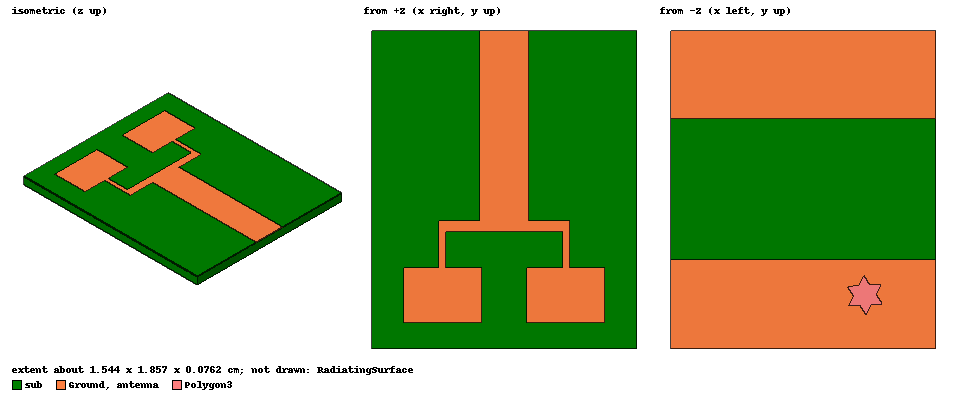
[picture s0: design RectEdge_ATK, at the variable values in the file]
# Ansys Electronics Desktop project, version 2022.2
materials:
  vacuum: permittivity=1
  Rogers RT/duroid 5880 (tm): permittivity=1.96 dielectric_loss_tangent=0.0009

design RectEdge_ATK (HFSS, DrivenTerminal, model units cm)
options: Allow_Material_Override Save_Adaptive_support_files
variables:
  # --Antenna Dimensions
  patchX = 0.4403cm
  patchY = 0.3154cm
  # --Substrate Dimensions
  subH = 0.0762cm
  subX = 2.7cm
  subY = 3.18cm
  # --Feed Dimensions
  EdgeFeedWidth = 0.0366cm
  EdgeFeedLength = 0.267cm
  FeedWidth = 0.2738cm
  FeedLength = 1.07cm
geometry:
  sub [Rogers RT/duroid 5880 (tm)] = box(corner=(-subX/2, -subY/2, 0cm), size=(subX+2.7cm, subY, subH))
  Ground = rectangle(corner=(-subX/2, -subY/2, 0cm), x_size=subX+subX, y_size=subY)
  antenna = rectangle(corner=(-patchX/2, -patchY/2, subH), x_size=patchX, y_size=patchY)
  NewObject_R3V5CP = rectangle(corner=(-EdgeFeedWidth/2, 0cm, subH), x_size=EdgeFeedWidth, y_size=patchY/2+EdgeFeedLength)
  NewObject_I0M3EW = rectangle(corner=(-FeedWidth/2, patchY/2+EdgeFeedLength, subH), x_size=FeedWidth, y_size=FeedLength)
  antenna.unite(NewObject_R3V5CP, NewObject_I0M3EW)
  RadiatingSurface [vacuum] = region(absolute_offset=0.35714286cm on all sides)
  antenna_1 = antenna.duplicate_along_line(step=(0.7cm, 0cm, 0cm), total=2)
  Rectangle1 = rectangle(corner=(0.5631cm, 0.4247cm, 0.0762cm), x_size=0.2738cm, y_size=1.07cm)
  antenna_1.subtract(Rectangle1)
  Rectangle2 = rectangle(corner=(-0.1369cm, 0.4247cm, 0.0762cm), x_size=0.2738cm, y_size=2cm)
  antenna.subtract(Rectangle2)
  Rectangle3 = rectangle(corner=(0.7183cm, 0.4247cm, 0.0762cm), x_size=-0.7366cm, y_size=-0.06675cm)
  antenna_1.unite(Rectangle3)
  antenna.unite(antenna_1)
  Rectangle4 = rectangle(corner=(0.2131cm, 0.4247cm, 0.0762cm), x_size=0.2738cm, y_size=1.07cm)
  antenna.unite(Rectangle4)
  Box1 = box(corner=(4.05cm, -1.59cm, 0.0762cm), size=(-2.7cm, 3.18cm, -0.0762cm))
  sub.subtract(Box1)
  Rectangle5 = rectangle(corner=(4.05cm, -1.59cm, 0cm), x_size=-2.7cm, y_size=3.18cm)
  Ground.subtract(Rectangle5)
  Box2 = box(corner=(1.35cm, -1.59cm, 0.0762cm), size=(-2.75cm, 1.29cm, -0.0762cm))
  sub.subtract(Box2)
  Rectangle6 = rectangle(corner=(1.35cm, -1.59cm, 0cm), x_size=-2.7cm, y_size=1.29cm)
  Ground.subtract(Rectangle6)
  Box3 = box(corner=(-1.35cm, -0.3cm, 0.0762cm), size=(0.95cm, 1.9cm, -0.0762cm))
  sub.subtract(Box3)
  Rectangle7 = rectangle(corner=(-1.35cm, -0.3cm, 0cm), x_size=0.95cm, y_size=1.89cm)
  Ground.subtract(Rectangle7)
  Box4 = box(corner=(1.35cm, 1.59cm, 0.0762cm), size=(-1.75cm, -0.09cm, -0.0762cm))
  sub.subtract(Box4)
  Rectangle8 = rectangle(corner=(1.35cm, 1.59cm, 0cm), x_size=-1.75cm, y_size=-0.09cm)
  Ground.subtract(Rectangle8)
  Rectangle9 = rectangle(corner=(0.2131cm, 1.4947cm, 0.0762cm), x_size=0.2738cm, y_size=0.0053cm)
  antenna.unite(Rectangle9)
  Box5 = box(corner=(1.35cm, -0.3cm, 0.0762cm), size=(-0.25cm, 1.8cm, -0.0762cm))
  sub.subtract(Box5)
  Rectangle10 = rectangle(corner=(1.35cm, -0.3cm, 0cm), x_size=-0.25cm, y_size=1.8cm)
  Ground.subtract(Rectangle10)
  Polygon1 = regular_polygon(axis=Z, centre=(0cm, 0cm, 0cm), first_corner=(0cm, -0.1cm, 0cm), sides=3)
  Polygon1.duplicate_around_axis(axis=Z, angle=180deg, total=2, attached)
  antenna.subtract(Polygon1)
  Polygon2 = regular_polygon(axis=Z, centre=(0cm, 0cm, 0cm), first_corner=(0cm, -0.1cm, 0cm), sides=3)
  Polygon2.duplicate_around_axis(axis=Z, angle=180deg, total=2, attached)
  antenna.subtract(Polygon2)
  Polygon3 = regular_polygon(axis=Z, centre=(0cm, 0cm, 0cm), first_corner=(-0.1cm, -0.05cm, 0cm), sides=3)
  Polygon3.duplicate_around_axis(axis=Z, angle=180deg, total=2, attached)
  Polygon3_1 = Polygon3.copy()
  antenna.subtract(Polygon3_1)
  Polygon3_2 = Polygon3.duplicate_along_line(step=(0.7cm, 0cm, 0cm), total=2)
  antenna.subtract(Polygon3_2)
  Polygon3_3 = Polygon3.duplicate_along_line(step=(0.7cm, 0cm, 0cm), total=2)
  antenna.subtract(Polygon3_3)
  Polygon3_4 [non-model] = Polygon3.duplicate_along_line(step=(0.7cm, 0cm, 0cm), total=2)
  Rectangle11 = rectangle(corner=(1.1cm, 0.2cm, 0cm), x_size=-1.5cm, y_size=0.8cm)
  Ground.subtract(Rectangle11)
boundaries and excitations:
  antennaMetal: Perfect E Objects=antenna
  groundMetal: Perfect E Objects=Ground
  Open1: Radiation Objects=RadiatingSurface
  1_T1: Terminal port=1 Edges=antenna.edge(3 of 4) TerminalResistance=50ohm
  1: Lumped Port Faces=sub.face(at (0.475, 1.5, 0.0381)) Impedance=50ohm
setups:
  ATK_Solution: HfssDriven Frequency=28GHz MaxDeltaS=0.02 MaximumPasses=15 MinimumPasses=1 MinimumConvergedPasses=1 PercentRefinement=30 BasisOrder=1 PortAccuracy=2 DrivenSolverType="Direct Solver" IESolverType=ACA
    sweep FF_Sweep: 14GHz to 42GHz, 3 points; Type=Discrete SaveFields
    sweep SParam_Sweep: 14GHz to 42GHz, 100 points; Type=Interpolating InterpTolerance=0.5 InterpMaxSolns=250 PassivityErrorTolerance=0.0001
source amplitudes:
  1:1: 1V 0deg
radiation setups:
  3D: Infinite Sphere Theta=0deg..180deg step 2deg Phi=-180deg..180deg step 2deg
  Elevation: Infinite Sphere Theta=-180deg..180deg step 1deg Phi=0deg..90deg step 90deg
  Azimuth: Infinite Sphere Theta=90deg..90deg step 0deg Phi=-180deg..180deg step 1deg
  ATK_2D: Infinite Sphere Theta=-180deg..180deg step 1deg Phi=0deg..90deg step 90deg
  ATK_3D: Infinite Sphere Theta=-180deg..180deg step 2deg Phi=0deg..180deg step 5deg
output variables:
  s_parameter = s
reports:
  ff_3D_GainTotal: dB(GainTotal) vs Phi, Theta on ATK_Solution : LastAdaptive, ATK_3D [Freq=2.8e+10]
  ff_2D_GainTotal: dB(GainTotal) vs Theta on ATK_Solution : LastAdaptive, ATK_2D [Phi=all Freq=2.8e+10]
  ff_2D_GainTotal_Stacked: dB(GainTotal) vs Theta on ATK_Solution : FF_Sweep, ATK_2D [Phi=all Freq=all]
  Return Loss: dB(St11) vs Freq on ATK_Solution : SParam_Sweep; markers m1 at 27.858586GHz
  Input Impedance: St11 on ATK_Solution : SParam_Sweep [Freq=all]
  Variables Plot 1: Freq vs Freq on ATK_Solution : FF_Sweep [Phase=0deg]
  Gamma Plot 1: im(Gamma(1)) vs Freq on ATK_Solution : SParam_Sweep
  Port Zo Plot 1: re(Zo(1)) vs Freq on ATK_Solution : SParam_Sweep
  Port Zo Plot 2: re(Zo(1)) vs Freq on ATK_Solution : LastAdaptive
  Gamma Plot 2: dB20(Gamma(1)) vs Freq on ATK_Solution : FF_Sweep
  Output Variables Plot 1: dB20(s_parameter) vs Freq on ATK_Solution : FF_Sweep
  Output Variables Plot 2: dB10(s_parameter) vs Freq on ATK_Solution : FF_Sweep
  Output Variables Plot 3: re(s_parameter) vs Freq on ATK_Solution : FF_Sweep
  Output Variables Plot 4: dB20(s_parameter) vs Freq on ATK_Solution : FF_Sweep
   Plot 1: (1-mag(Gamma(1))*mag(Gamma(1)))/(1+mag(Gamma(1))*mag(Gamma(1))) vs Freq on ATK_Solution : FF_Sweep
   Plot 2: (1-mag(Gamma(1))*mag(Gamma(1)))/(1+mag(Gamma(1))*mag(Gamma(1))) vs Freq on ATK_Solution : FF_Sweep
  Terminal S Parameter Plot 1: dB(St(1_T1,1_T1)) vs Freq on ATK_Solution : FF_Sweep
  Terminal VSWR Plot 1: VSWRt(1_T1) vs Freq on ATK_Solution : FF_Sweep
  Antenna Params Table 1: dB(PeakDirectivity) vs Freq on ATK_Solution : LastAdaptive
